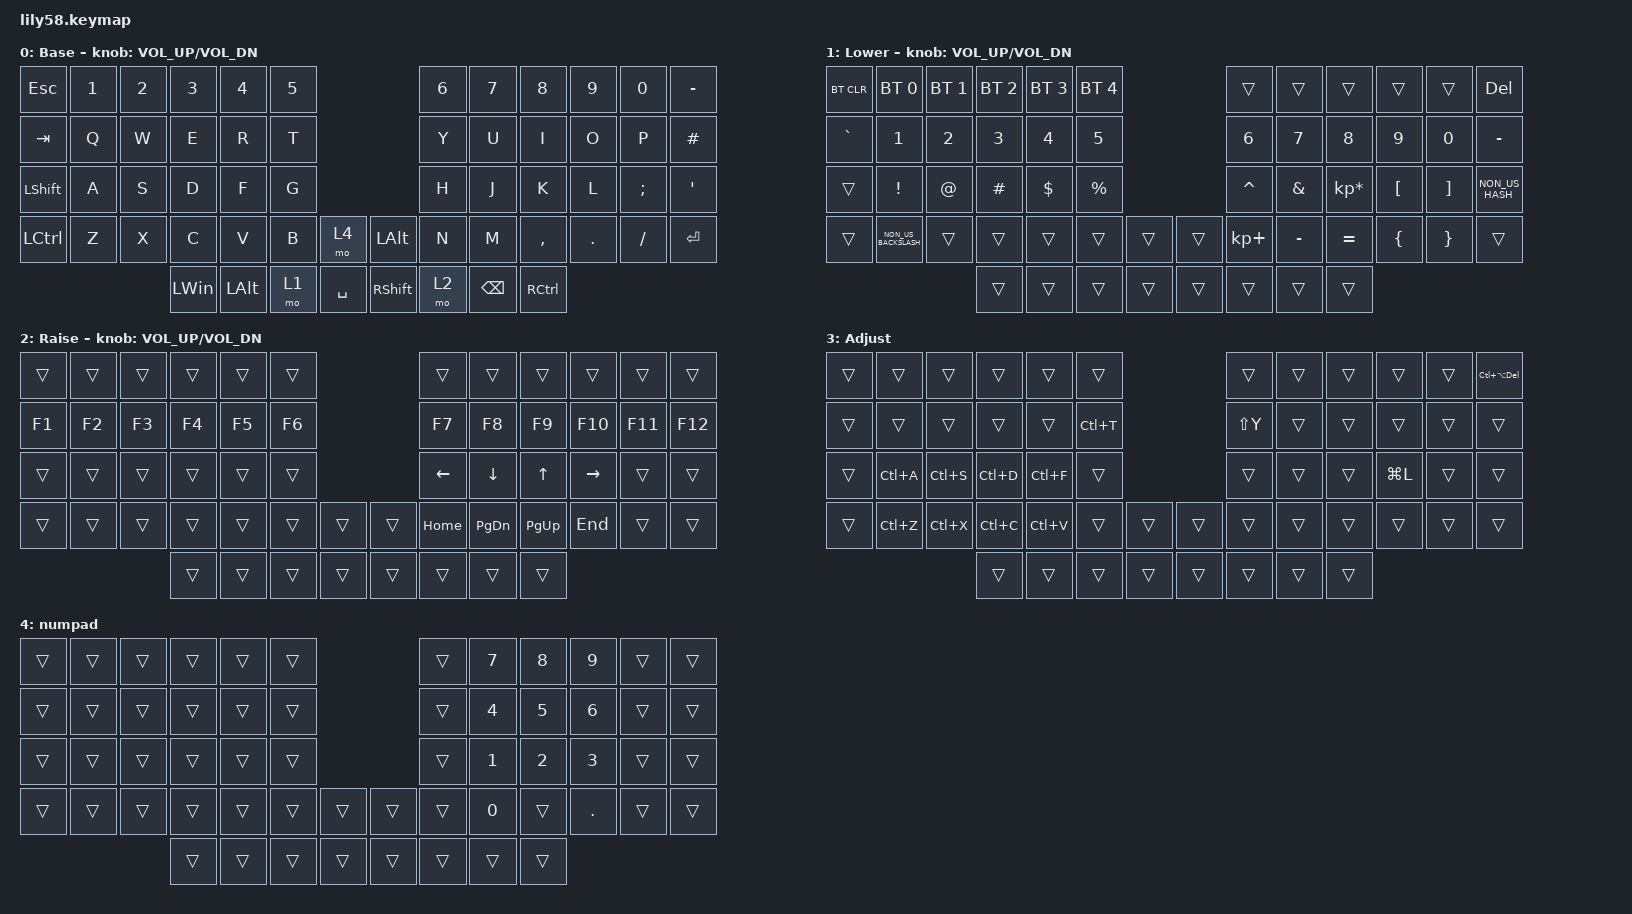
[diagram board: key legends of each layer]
/*
 * Copyright (c) 2020 The ZMK Contributors
 *
 * SPDX-License-Identifier: MIT
 */

#include <behaviors.dtsi>
#include <dt-bindings/zmk/bt.h>
#include <dt-bindings/zmk/keys.h>

/ {
    keymap {
        compatible = "zmk,keymap";

        default_layer {
            // ------------------------------------------------------------------------------------------------------------
            // |  ESC  |  1  |  2  |  3   |  4   |  5   |                   |  6   |  7    |  8    |  9   |   0   |   `   |
            // |  TAB  |  Q  |  W  |  E   |  R   |  T   |                   |  Y   |  U    |  I    |  O   |   P   |   -   |
            // |  CTRL |  A  |  S  |  D   |  F   |  G   |                   |  H   |  J    |  K    |  L   |   ;   |   '   |
            // | SHIFT |  Z  |  X  |  C   |  V   |  B   |   "["  |  |  "]"  |  N   |  M    |  ,    |  .   |   /   | SHIFT |
            //                     | ALT  | GUI  | LOWER|  SPACE |  | ENTER | RAISE| BSPC  | GUI   |

            label = "Base";
            bindings = <
&kp ESC         &kp N1  &kp N2  &kp N3        &kp N4    &kp N5                                &kp N6  &kp N7    &kp N8             &kp N9   &kp N0    &kp MINUS
&kp TAB         &kp Q   &kp W   &kp E         &kp R     &kp T                                 &kp Y   &kp U     &kp I              &kp O    &kp P     &kp HASH
&kp LEFT_SHIFT  &kp A   &kp S   &kp D         &kp F     &kp G                                 &kp H   &kp J     &kp K              &kp L    &kp SEMI  &kp SQT
&kp LCTRL       &kp Z   &kp X   &kp C         &kp V     &kp B   &mo 4        &kp LEFT_ALT     &kp N   &kp M     &kp COMMA          &kp DOT  &kp FSLH  &kp ENTER
                                &kp LEFT_WIN  &kp LALT  &mo 1   &kp SPACE    &kp RIGHT_SHIFT  &mo 2   &kp BSPC  &kp RIGHT_CONTROL
            >;

            sensor-bindings = <&inc_dec_kp C_VOL_UP C_VOL_DN>;
        };

        lower_layer {
            // ------------------------------------------------------------------------------------------------------------
            // | BTCLR | BT1 | BT2 |  BT3 |  BT4 |  BT5 |                   |      |       |       |      |       |       |
            // |  F1   |  F2 |  F3 |  F4  |  F5  |  F6  |                   |  F7  |  F8   |  F9   |  F10 |  F11  |  F12  |
            // |   `   |  !  |  @  |  #   |  $   |  %   |                   |  ^   |  &    |  *    |  (   |   )   |   ~   |
            // |       |     |     |      |      |      |        |  |       |      |  _    |  +    |  {   |   }   |  "|"  |
            //                     |      |      |      |        |  |       |      |       |       |

            label = "Lower";
            bindings = <
&bt BT_CLR  &bt BT_SEL 0          &bt BT_SEL 1  &bt BT_SEL 2  &bt BT_SEL 3  &bt BT_SEL 4                    &trans       &trans     &trans           &trans            &trans    &kp DELETE
&kp GRAVE   &kp N1                &kp N2        &kp N3        &kp N4        &kp N5                          &kp N6       &kp N7     &kp N8           &kp N9            &kp N0    &kp MINUS
&trans      &kp EXCL              &kp AT        &kp HASH      &kp DOLLAR    &kp PRCNT                       &kp CARET    &kp AMPS   &kp KP_MULTIPLY  &kp LEFT_BRACKET  &kp RBKT  &kp NON_US_HASH
&trans      &kp NON_US_BACKSLASH  &trans        &trans        &trans        &trans        &trans    &trans  &kp KP_PLUS  &kp MINUS  &kp EQUAL        &kp LBRC          &kp RBRC  &trans
                                                &trans        &trans        &trans        &trans    &trans  &trans       &trans     &trans
            >;

            sensor-bindings = <&inc_dec_kp C_VOL_UP C_VOL_DN>;
        };

        raise_layer {
            // ------------------------------------------------------------------------------------------------------------
            // |       |     |     |      |      |      |                   |      |       |       |      |       |       |
            // |   `   |  1  |  2  |  3   |  4   |  5   |                   |  6   |   7   |   8   |  9   |   0   |       |
            // |   F1  |  F2 |  F3 |  F4  |  F5  |  F6  |                   |      |   <-  |   v   |  ^   |  ->   |       |
            // |   F7  |  F8 |  F9 |  F10 |  F11 |  F12 |        |  |       |  +   |   -   |   =   |  [   |   ]   |   \   |
            //                     |      |      |      |        |  |       |      |       |       |

            label = "Raise";
            bindings = <
&trans  &trans  &trans  &trans  &trans  &trans                    &trans    &trans     &trans     &trans     &trans   &trans
&kp F1  &kp F2  &kp F3  &kp F4  &kp F5  &kp F6                    &kp F7    &kp F8     &kp F9     &kp F10    &kp F11  &kp F12
&trans  &trans  &trans  &trans  &trans  &trans                    &kp LEFT  &kp DOWN   &kp UP     &kp RIGHT  &trans   &trans
&trans  &trans  &trans  &trans  &trans  &trans  &trans    &trans  &kp HOME  &kp PG_DN  &kp PG_UP  &kp END    &trans   &trans
                        &trans  &trans  &trans  &trans    &trans  &trans    &trans     &trans
            >;

            sensor-bindings = <&inc_dec_kp C_VOL_UP C_VOL_DN>;
        };

        adjust_layer {
            bindings = <
&trans  &trans     &trans     &trans     &trans     &trans                       &trans     &trans  &trans  &trans     &trans  &kp LC(LA(DELETE))
&trans  &trans     &trans     &trans     &trans     &kp LC(T)                    &kp LS(Y)  &trans  &trans  &trans     &trans  &trans
&trans  &kp LC(A)  &kp LC(S)  &kp LC(D)  &kp LC(F)  &trans                       &trans     &trans  &trans  &kp LG(L)  &trans  &trans
&trans  &kp LC(Z)  &kp LC(X)  &kp LC(C)  &kp LC(V)  &trans     &trans    &trans  &trans     &trans  &trans  &trans     &trans  &trans
                              &trans     &trans     &trans     &trans    &trans  &trans     &trans  &trans
            >;

            label = "Adjust";
        };

        numpad {
            bindings = <
&trans  &trans  &trans  &trans  &trans  &trans                    &trans  &kp N7  &kp N8  &kp N9   &trans  &trans
&trans  &trans  &trans  &trans  &trans  &trans                    &trans  &kp N4  &kp N5  &kp N6   &trans  &trans
&trans  &trans  &trans  &trans  &trans  &trans                    &trans  &kp N1  &kp N2  &kp N3   &trans  &trans
&trans  &trans  &trans  &trans  &trans  &trans  &trans    &trans  &trans  &kp N0  &trans  &kp DOT  &trans  &trans
                        &trans  &trans  &trans  &trans    &trans  &trans  &trans  &trans
            >;
        };
    };

    conditional_layers {
        compatible = "zmk,conditional-layers";

        tri_layer {
            if-layers = <1 2>;
            then-layer = <3>;
        };
    };
};
